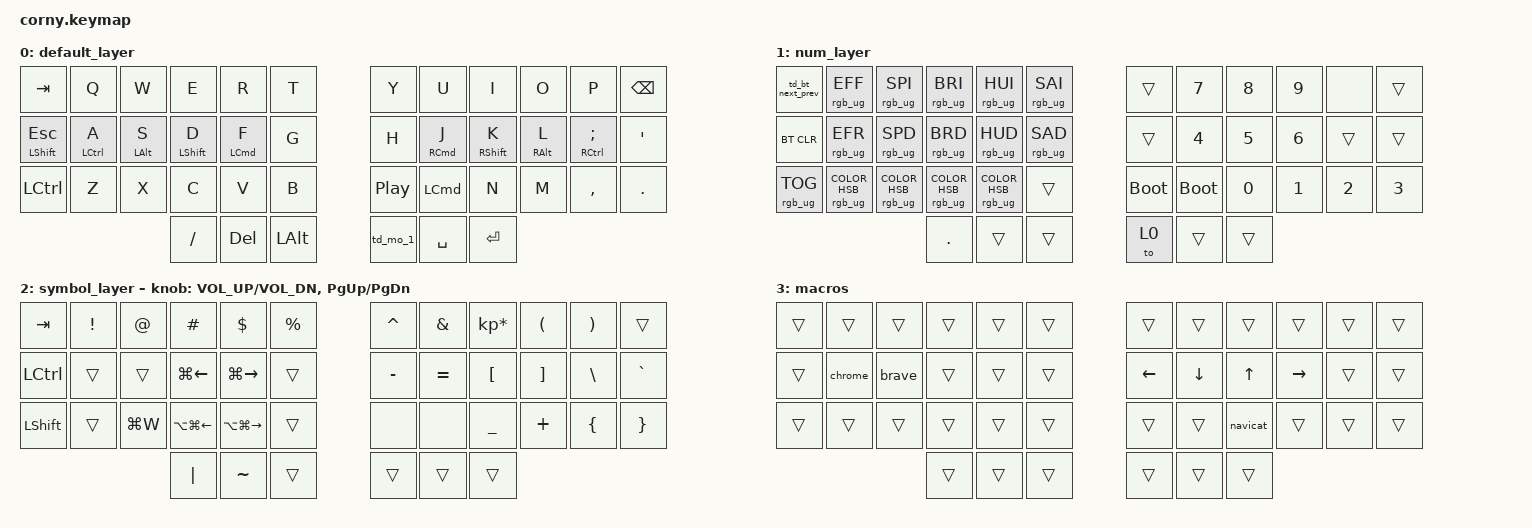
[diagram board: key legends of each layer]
#include <behaviors.dtsi>
#include <dt-bindings/zmk/bt.h>
#include <dt-bindings/zmk/keys.h>
#include <dt-bindings/zmk/rgb.h>

&lt {
    flavor = "hold-preferred";
    tapping-term-ms = <280>;
    quick-tap-ms = <175>;
    require-prior-idle-ms = <0>;
    hold-trigger-on-release;
    hold-trigger-key-positions = <6 7 8 9 10 11 18 19 20 21 22 23 31 32 33 34 35 36 37 41 42 43 0 1 2 3 4 5 13 14 15 16 17 24 25 26 27 28 29 30 38 39 40 12>;
};

/ {
    behaviors {
        td_mo_1: td_mo_1 {
            compatible = "zmk,behavior-tap-dance";
            label = "TD_MO_1";
            #binding-cells = <0>;
            bindings = <&mo 1>, <&to 1>;
        };

        td_mo_2: td_mo_2 {
            compatible = "zmk,behavior-tap-dance";
            label = "TD_MO_2";
            #binding-cells = <0>;
            bindings = <&mo 2>, <&to 2>;
        };

        home_row_mod_right: home_row_mod_right {
            compatible = "zmk,behavior-hold-tap";
            label = "HOME_ROW_MOD_RIGHT";
            bindings = <&kp>, <&kp>;

            #binding-cells = <2>;
            tapping-term-ms = <280>;
            quick-tap-ms = <175>;
            require-prior-idle-ms = <100>;
            flavor = "balanced";
            hold-trigger-key-positions = <0 1 2 3 4 5 12 13 14 15 16 17 24 25 26 27 28 29 40 39 38 30>;
            hold-trigger-on-release;
        };

        home_row_mod_left: home_row_mod_left {
            compatible = "zmk,behavior-hold-tap";
            label = "HOME_ROW_MOD_LEFT";
            bindings = <&kp>, <&kp>;

            #binding-cells = <2>;
            tapping-term-ms = <280>;
            quick-tap-ms = <175>;
            require-prior-idle-ms = <100>;
            flavor = "balanced";
            hold-trigger-key-positions = <6 7 8 9 10 11 18 19 20 21 22 23 31 32 33 34 35 36 37 41 42 43>;
            hold-trigger-on-release;
        };

        td_bt_next_prev: td_bt_next_prev {
            compatible = "zmk,behavior-tap-dance";
            label = "TD_BT_NEXT_PREV";
            #binding-cells = <0>;
            bindings = <&bt BT_NXT>, <&bt BT_PRV>;

            tapping-term-ms = <300>;
        };

        td_mo_3: td_mo_3 {
            compatible = "zmk,behavior-tap-dance";
            label = "TD_MO_3";
            #binding-cells = <0>;
            bindings = <&mo 3>, <&to 3>;
        };
    };

    macros {
        firefox: firefox {
            compatible = "zmk,behavior-macro";
            #binding-cells = <0>;
            bindings = <&kp LG(R) &kp F &kp I &kp R &kp E &kp F &kp O &kp X &kp ENTER>;
            label = "FIREFOX";
        };

        chrome: chrome {
            compatible = "zmk,behavior-macro";
            #binding-cells = <0>;
            bindings = <&kp LG(R) &kp C &kp H &kp R &kp O &kp M &kp E &kp ENTER>;
            label = "CHROME";
        };

        navicat: navicat {
            compatible = "zmk,behavior-macro";
            #binding-cells = <0>;
            bindings = <&kp LG(R) &kp N &kp A &kp V &kp I &kp C &kp A &kp T &kp ENTER>;
            label = "NAVICAT";
        };

        docker: docker {
            compatible = "zmk,behavior-macro";
            #binding-cells = <0>;
            bindings = <&kp LG(R) &kp D &kp O &kp C &kp K &kp E &kp R &kp ENTER>;
            label = "DOCKER";
        };

        alacritty: alacritty {
            compatible = "zmk,behavior-macro";
            #binding-cells = <0>;
            bindings = <&kp LG(R) &kp A &kp L &kp A &kp C &kp R &kp I &kp T &kp T &kp Y &kp ENTER>;
            label = "ALACRITTY";
        };

        vim_save: vim_save {
            compatible = "zmk,behavior-macro";
            #binding-cells = <0>;
            bindings = <&kp ESC &kp COLON &kp W &kp ENTER>;
            label = "VIM_SAVE";
        };

        brave: brave {
            compatible = "zmk,behavior-macro";
            #binding-cells = <0>;
            bindings = <&kp LG(R) &kp B &kp R &kp A &kp V &kp E &kp ENTER>;
            label = "BRAVE";
        };
    };

    keymap {
        compatible = "zmk,keymap";

        default_layer {
            bindings = <
&kp TAB                               &kp Q                       &kp W                          &kp E                        &kp R                              &kp T         &kp Y             &kp U                                &kp I                         &kp O                            &kp P                                   &kp BSPC
&home_row_mod_left LEFT_SHIFT ESCAPE  &home_row_mod_left LCTRL A  &home_row_mod_left LEFT_ALT S  &home_row_mod_left LSHIFT D  &home_row_mod_left LEFT_COMMAND F  &kp G         &kp H             &home_row_mod_right RIGHT_COMMAND J  &home_row_mod_right RSHIFT K  &home_row_mod_right RIGHT_ALT L  &home_row_mod_right RIGHT_CONTROL SEMI  &kp SQT
&kp LCTRL                             &kp Z                       &kp X                          &kp C                        &kp V                              &kp B         &kp C_PLAY_PAUSE  &kp LEFT_COMMAND                     &kp N                         &kp M                            &kp COMMA                               &kp DOT
                                                                                                 &kp FSLH                     &kp DEL                            &kp LALT      &td_mo_1          &kp SPACE                            &kp ENTER
            >;

            /* sensor-bindings = */
            /*     <&inc_dec_kp C_VOL_DN C_VOL_UP>, */
            /*     <&inc_dec_kp LS(TAB) TAB>; */
        };

        num_layer {
            bindings = <
&td_bt_next_prev  &rgb_ug RGB_EFF                 &rgb_ug RGB_SPI                &rgb_ug RGB_BRI                &rgb_ug RGB_HUI                  &rgb_ug RGB_SAI      &trans       &kp N7       &kp N8  &kp N9  &none   &trans
&bt BT_CLR        &rgb_ug RGB_EFR                 &rgb_ug RGB_SPD                &rgb_ug RGB_BRD                &rgb_ug RGB_HUD                  &rgb_ug RGB_SAD      &trans       &kp N4       &kp N5  &kp N6  &trans  &trans
&rgb_ug RGB_TOG   &rgb_ug RGB_COLOR_HSB(0,0,100)  &rgb_ug RGB_COLOR_HSB(0,0,75)  &rgb_ug RGB_COLOR_HSB(0,0,59)  &rgb_ug RGB_COLOR_HSB(0,100,50)  &trans               &bootloader  &bootloader  &kp N0  &kp N1  &kp N2  &kp N3
                                                                                 &kp DOT                        &trans                           &trans               &to 0        &trans       &trans
            >;

            /*     sensor-bindings = */
            /*         <&inc_dec_kp F5 F6>, */
            /*         <&inc_dec_kp C_BRIGHTNESS_DEC C_BRIGHTNESS_INC>; */
        };

        symbol_layer {
            bindings = <
&kp TAB    &kp EXCL  &kp AT     &kp HASH          &kp DLLR                 &kp PRCNT      &kp CARET  &kp AMPS   &kp KP_MULTIPLY  &kp LPAR  &kp RPAR  &trans
&kp LCTRL  &trans    &trans     &kp LG(LEFT)      &kp LG(RIGHT_ARROW)      &trans         &kp MINUS  &kp EQUAL  &kp LBKT         &kp RBKT  &kp BSLH  &kp GRAVE
&kp LSHFT  &trans    &kp LG(W)  &kp LA(LG(LEFT))  &kp LA(LG(RIGHT_ARROW))  &trans         &none      &none      &kp UNDER        &kp PLUS  &kp LBRC  &kp RBRC
                                &kp PIPE          &kp TILDE                &trans         &trans     &trans     &trans
            >;

            sensor-bindings = <&inc_dec_kp C_VOL_UP C_VOL_DN &inc_dec_kp PG_UP PG_DN>;
        };

        macros {
            bindings = <
&trans  &trans   &trans  &trans  &trans  &trans      &trans    &trans    &trans    &trans     &trans  &trans
&trans  &chrome  &brave  &trans  &trans  &trans      &kp LEFT  &kp DOWN  &kp UP    &kp RIGHT  &trans  &trans
&trans  &trans   &trans  &trans  &trans  &trans      &trans    &trans    &navicat  &trans     &trans  &trans
                         &trans  &trans  &trans      &trans    &trans    &trans
            >;
        };
    };
};
